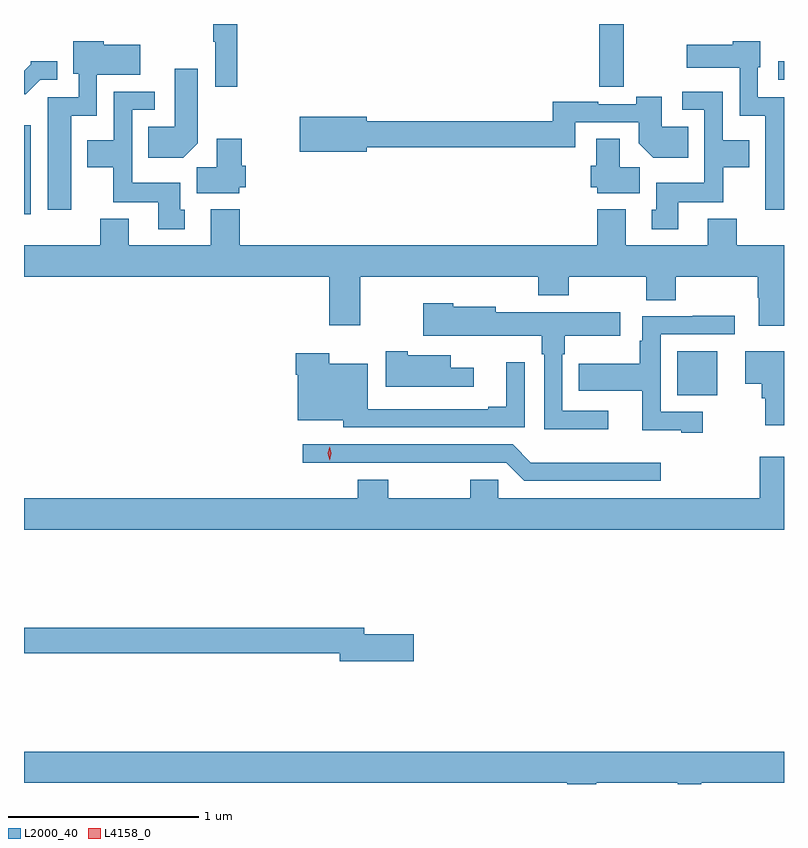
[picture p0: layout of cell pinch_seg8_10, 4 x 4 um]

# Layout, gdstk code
import gdstk
lib = gdstk.Library(unit=1e-6, precision=1e-09)
def R(c, l, rs):  # rectangles x0, y0, x1, y1
    for r in rs: c.add(gdstk.rectangle(r[:2], r[2:], *l))
def P(c, l, *ps):  # polygons
    for p in ps: c.add(gdstk.Polygon(p, *l))
L2000_40 = (2000, 40)
L4158_0 = (4158, 0)

pinch_seg8_10 = lib.new_cell('pinch_seg8_10')
R(pinch_seg8_10, L2000_40, [(1049.348,1146.512,1049.557,1146.742), (1045.909,1147.464,1045.945,1147.933), (1048.936,1148.136,1049.065,1148.465), (1049.88,1148.172,1049.909,1148.269)])
P(pinch_seg8_10, L2000_40, [(1047.032,1148.465),(1046.904,1148.465),(1046.904,1148.372),(1046.916,1148.372),(1046.916,1148.136),(1047.032,1148.136)],
  [(1049.909,1148.079),(1049.772,1148.079),(1049.772,1148.238),(1049.785,1148.238),(1049.785,1148.374),(1049.64,1148.374),(1049.64,1148.356),(1049.397,1148.356),(1049.397,1148.234),(1049.676,1148.234),(1049.676,1147.982),(1049.81,1147.982),(1049.81,1147.488),(1049.909,1147.488)],
  [(1046.158,1147.982),(1046.292,1147.982),(1046.292,1148.198),(1046.521,1148.198),(1046.521,1148.356),(1046.328,1148.356),(1046.328,1148.374),(1046.168,1148.374),(1046.168,1148.202),(1046.196,1148.202),(1046.196,1148.079),(1046.033,1148.079),(1046.033,1147.488),(1046.158,1147.488)],
  [(1045.995,1148.172),(1046.083,1148.172),(1046.083,1148.269),(1045.944,1148.269),(1045.944,1148.254),(1045.909,1148.219),(1045.909,1148.094),(1045.917,1148.094)],
  [(1046.824,1147.838),(1046.824,1148.23),(1046.702,1148.23),(1046.702,1147.924),(1046.563,1147.924),(1046.563,1147.76),(1046.746,1147.76)],
  [(1046.755,1147.488),(1046.731,1147.488),(1046.731,1147.63),(1046.478,1147.63),(1046.478,1148.013),(1046.596,1148.013),(1046.596,1148.109),(1046.382,1148.109),(1046.382,1147.852),(1046.243,1147.852),(1046.243,1147.712),(1046.38,1147.712),(1046.38,1147.526),(1046.615,1147.526),(1046.615,1147.386),(1046.755,1147.386)],
  [(1049.353,1147.526),(1049.589,1147.526),(1049.589,1147.712),(1049.725,1147.712),(1049.725,1147.852),(1049.586,1147.852),(1049.586,1148.109),(1049.373,1148.109),(1049.373,1148.013),(1049.49,1148.013),(1049.49,1147.63),(1049.237,1147.63),(1049.237,1147.488),(1049.213,1147.488),(1049.213,1147.386),(1049.353,1147.386)],
  [(1049.405,1147.924),(1049.266,1147.924),(1049.266,1148.082),(1049.132,1148.082),(1049.132,1148.043),(1048.932,1148.043),(1048.932,1148.055),(1048.693,1148.055),(1048.693,1147.952),(1047.712,1147.952),(1047.712,1147.976),(1047.36,1147.976),(1047.36,1147.793),(1047.712,1147.793),(1047.712,1147.816),(1048.809,1147.816),(1048.809,1147.947),(1049.144,1147.947),(1049.144,1147.838),(1049.222,1147.76),(1049.405,1147.76)],
  [(1047.042,1147.605),(1047.077,1147.605),(1047.077,1147.719),(1047.054,1147.719),(1047.054,1147.861),(1046.924,1147.861),(1046.924,1147.712),(1046.819,1147.712),(1046.819,1147.574),(1047.042,1147.574)],
  [(1049.149,1147.712),(1049.044,1147.712),(1049.044,1147.861),(1048.922,1147.861),(1048.922,1147.719),(1048.892,1147.719),(1048.892,1147.605),(1048.926,1147.605),(1048.926,1147.574),(1049.149,1147.574)],
  [(1049.909,1147.3),(1049.66,1147.3),(1049.66,1147.441),(1049.507,1147.441),(1049.507,1147.3),(1049.077,1147.3),(1049.077,1147.489),(1048.925,1147.489),(1048.925,1147.3),(1047.044,1147.3),(1047.044,1147.489),(1046.891,1147.489),(1046.891,1147.3),(1046.461,1147.3),(1046.461,1147.441),(1046.309,1147.441),(1046.309,1147.3),(1045.909,1147.3),(1045.909,1147.136),(1047.515,1147.136),(1047.515,1146.879),(1047.68,1146.879),(1047.68,1147.136),(1048.616,1147.136),(1048.616,1147.037),(1048.776,1147.037),(1048.776,1147.136),(1049.185,1147.136),(1049.185,1147.012),(1049.34,1147.012),(1049.34,1147.136),(1049.77,1147.136),(1049.77,1147.024),(1049.777,1147.024),(1049.777,1146.876),(1049.909,1146.876)],
  [(1048.984,1146.429),(1048.743,1146.429),(1048.743,1146.728),(1048.756,1146.728),(1048.756,1146.824),(1049.047,1146.824),(1049.047,1146.949),(1048.392,1146.949),(1048.392,1146.976),(1048.167,1146.976),(1048.167,1146.994),(1048.009,1146.994),(1048.009,1146.824),(1048.635,1146.824),(1048.635,1146.728),(1048.647,1146.728),(1048.647,1146.332),(1048.984,1146.332)],
  [(1049.482,1146.423),(1049.259,1146.423),(1049.259,1146.831),(1049.65,1146.831),(1049.65,1146.929),(1049.428,1146.929),(1049.428,1146.927),(1049.163,1146.927),(1049.163,1146.798),(1049.151,1146.798),(1049.151,1146.676),(1048.828,1146.676),(1048.828,1146.536),(1049.162,1146.536),(1049.162,1146.326),(1049.369,1146.326),(1049.369,1146.315),(1049.482,1146.315)],
  [(1049.909,1146.742),(1049.705,1146.742),(1049.705,1146.572),(1049.792,1146.572),(1049.792,1146.495),(1049.81,1146.495),(1049.81,1146.354),(1049.909,1146.354)],
  [(1048.276,1146.655),(1048.156,1146.655),(1048.156,1146.721),(1047.93,1146.721),(1047.93,1146.742),(1047.812,1146.742),(1047.812,1146.557),(1048.276,1146.557)],
  [(1048.545,1146.685),(1048.448,1146.685),(1048.448,1146.451),(1048.352,1146.451),(1048.352,1146.438),(1047.718,1146.438),(1047.718,1146.676),(1047.516,1146.676),(1047.516,1146.733),(1047.338,1146.733),(1047.338,1146.62),(1047.35,1146.62),(1047.35,1146.38),(1047.59,1146.38),(1047.59,1146.342),(1048.545,1146.342)],
  [(1049.26,1146.157),(1048.577,1146.157),(1048.482,1146.252),(1047.375,1146.252),(1047.375,1146.156),(1047.913,1146.156),(1047.913,1146.155),(1048.169,1146.155),(1048.169,1146.156),(1048.446,1146.156),(1048.542,1146.06),(1049.26,1146.06)],
  [(1049.909,1146.187),(1049.782,1146.187),(1049.782,1145.968),(1048.404,1145.968),(1048.404,1146.066),(1048.258,1146.066),(1048.258,1145.968),(1047.825,1145.968),(1047.825,1146.067),(1047.665,1146.067),(1047.665,1145.968),(1045.909,1145.968),(1045.909,1145.804),(1049.909,1145.804)],
  [(1047.961,1145.252),(1047.7,1145.252),(1047.7,1145.288),(1045.909,1145.288),(1045.909,1145.152),(1047.572,1145.152),(1047.572,1145.11),(1047.961,1145.11)],
  [(1048.921,1144.472),(1049.351,1144.472),(1049.351,1144.465),(1049.473,1144.465),(1049.473,1144.472),(1049.909,1144.472),(1049.909,1144.636),(1045.909,1144.636),(1045.909,1144.472),(1048.769,1144.472),(1048.769,1144.465),(1048.921,1144.465)])
P(pinch_seg8_10, L4158_0, [(1047.517,1146.169),(1047.517,1146.169),(1047.507,1146.205),(1047.517,1146.24),(1047.517,1146.24),(1047.517,1146.24),(1047.527,1146.205),(1047.517,1146.169)])

lib.write_gds('pinch_seg8_10.gds')
